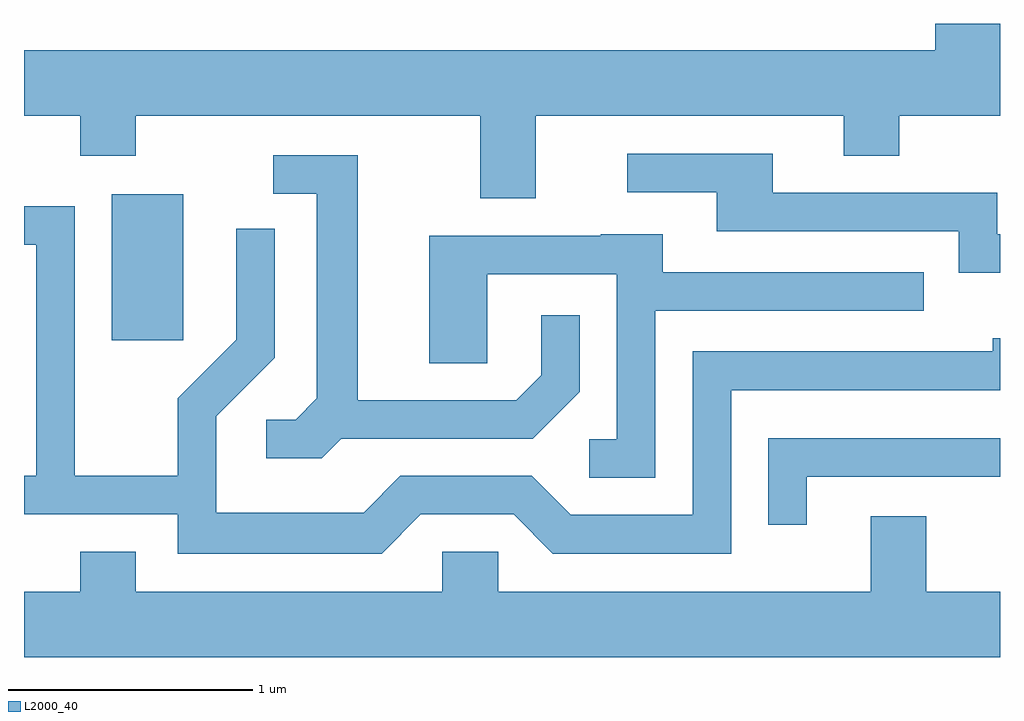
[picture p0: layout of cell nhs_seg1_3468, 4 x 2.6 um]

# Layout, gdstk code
import gdstk
lib = gdstk.Library(unit=1e-6, precision=1e-09)
def R(c, l, rs):  # rectangles x0, y0, x1, y1
    for r in rs: c.add(gdstk.rectangle(r[:2], r[2:], *l))
def P(c, l, *ps):  # polygons
    for p in ps: c.add(gdstk.Polygon(p, *l))
L2000_40 = (2000, 40)

nhs_seg1_3468 = lib.new_cell('nhs_seg1_3468')
R(nhs_seg1_3468, L2000_40, [(289.971,916.416,290.264,917.014)])
P(nhs_seg1_3468, L2000_40, [(291.709,917.336),(292.971,917.336),(292.971,917.171),(293.199,917.171),(293.199,917.336),(293.611,917.336),(293.611,917.712),(293.346,917.712),(293.346,917.604),(289.611,917.604),(289.611,917.336),(289.841,917.336),(289.841,917.171),(290.069,917.171),(290.069,917.336),(291.481,917.336),(291.481,916.996),(291.709,916.996)],
  [(293.611,916.849),(293.599,916.849),(293.599,917.019),(292.679,917.019),(292.679,917.179),(292.083,917.179),(292.083,917.021),(292.451,917.021),(292.451,916.861),(293.441,916.861),(293.441,916.691),(293.611,916.691)],
  [(290.912,916.011),(291.697,916.011),(291.889,916.204),(291.889,916.518),(291.731,916.518),(291.731,916.272),(291.629,916.169),(290.979,916.169),(290.979,917.174),(290.633,917.174),(290.633,917.016),(290.811,917.016),(290.811,916.177),(290.724,916.089),(290.603,916.089),(290.603,915.931),(290.832,915.931)],
  [(291.237,915.701),(291.619,915.701),(291.779,915.541),(292.509,915.541),(292.509,916.211),(293.611,916.211),(293.611,916.424),(293.581,916.424),(293.581,916.369),(292.351,916.369),(292.351,915.699),(291.852,915.699),(291.692,915.859),(291.154,915.859),(291.004,915.709),(290.399,915.709),(290.399,916.104),(290.639,916.344),(290.639,916.873),(290.481,916.873),(290.481,916.417),(290.241,916.177),(290.241,915.859),(289.819,915.859),(289.819,916.964),(289.611,916.964),(289.611,916.806),(289.661,916.806),(289.661,915.859),(289.611,915.859),(289.611,915.701),(290.241,915.701),(290.241,915.541),(291.077,915.541)],
  [(292.199,916.536),(293.298,916.536),(293.298,916.694),(292.229,916.694),(292.229,916.849),(291.975,916.849),(291.975,916.844),(291.271,916.844),(291.271,916.321),(291.509,916.321),(291.509,916.686),(292.041,916.686),(292.041,916.009),(291.928,916.009),(291.928,915.851),(292.199,915.851)],
  [(292.819,915.856),(293.611,915.856),(293.611,916.014),(292.661,916.014),(292.661,915.658),(292.819,915.658)],
  [(293.611,915.384),(293.309,915.384),(293.309,915.694),(293.081,915.694),(293.081,915.384),(291.554,915.384),(291.554,915.549),(291.326,915.549),(291.326,915.384),(290.069,915.384),(290.069,915.549),(289.841,915.549),(289.841,915.384),(289.611,915.384),(289.611,915.116),(293.611,915.116)])

lib.write_gds('nhs_seg1_3468.gds')
